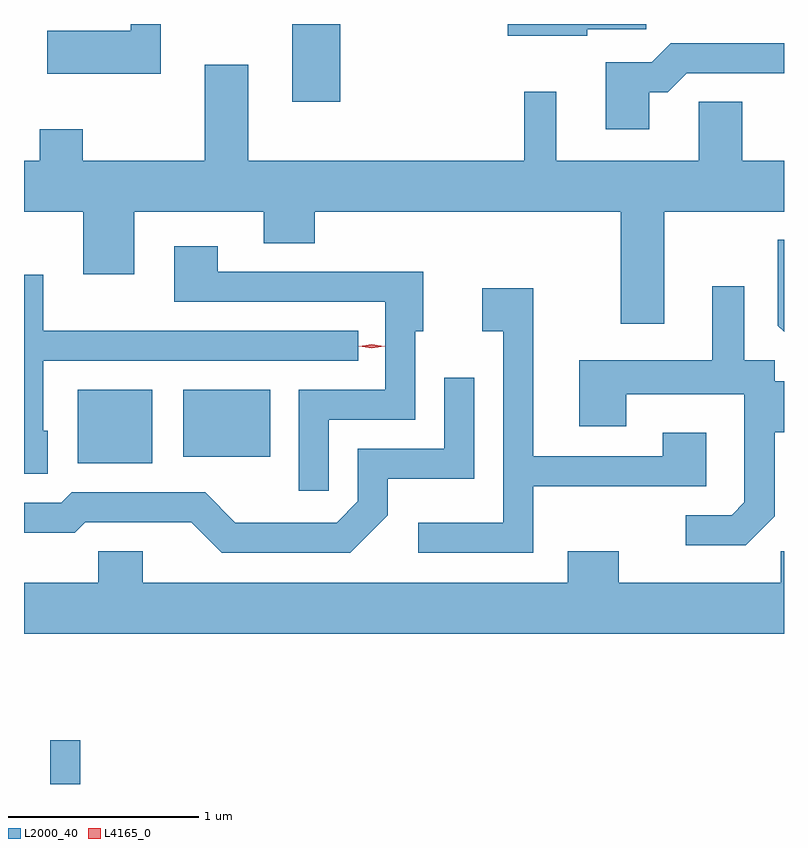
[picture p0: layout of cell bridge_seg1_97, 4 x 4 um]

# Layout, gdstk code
import gdstk
lib = gdstk.Library(unit=1e-6, precision=1e-09)
def R(c, l, rs):  # rectangles x0, y0, x1, y1
    for r in rs: c.add(gdstk.rectangle(r[:2], r[2:], *l))
def P(c, l, *ps):  # polygons
    for p in ps: c.add(gdstk.Polygon(p, *l))
L2000_40 = (2000, 40)
L4165_0 = (4165, 0)

bridge_seg1_97 = lib.new_cell('bridge_seg1_97')
R(bridge_seg1_97, L2000_40, [(1066.076,874.364,1066.234,874.593), (1066.221,876.051,1066.614,876.439), (1066.776,876.086,1067.234,876.439), (1067.351,877.956,1067.604,878.364)])
P(bridge_seg1_97, L2000_40, [(1068.904,878.336),(1069.214,878.336),(1069.214,878.364),(1068.486,878.364),(1068.486,878.301),(1068.904,878.301)],
  [(1066.659,878.364),(1066.501,878.364),(1066.501,878.329),(1066.061,878.329),(1066.061,878.101),(1066.659,878.101)],
  [(1069.229,878.006),(1069.327,878.006),(1069.427,878.106),(1069.939,878.106),(1069.939,878.264),(1069.344,878.264),(1069.244,878.164),(1069.001,878.164),(1069.001,877.811),(1069.229,877.811)],
  [(1069.309,877.376),(1069.939,877.376),(1069.939,877.644),(1069.719,877.644),(1069.719,877.954),(1069.491,877.954),(1069.491,877.644),(1068.739,877.644),(1068.739,878.008),(1068.571,878.008),(1068.571,877.644),(1067.119,877.644),(1067.119,878.149),(1066.891,878.149),(1066.891,877.644),(1066.249,877.644),(1066.249,877.809),(1066.021,877.809),(1066.021,877.644),(1065.939,877.644),(1065.939,877.376),(1066.251,877.376),(1066.251,877.046),(1066.519,877.046),(1066.519,877.376),(1067.201,877.376),(1067.201,877.211),(1067.469,877.211),(1067.469,877.376),(1069.081,877.376),(1069.081,876.786),(1069.309,876.786)],
  [(1069.939,877.228),(1069.906,877.228),(1069.906,876.777),(1069.939,876.744)],
  [(1067.544,876.281),(1067.999,876.281),(1067.999,876.746),(1068.039,876.746),(1068.039,877.059),(1066.959,877.059),(1066.959,877.194),(1066.731,877.194),(1066.731,876.901),(1067.841,876.901),(1067.841,876.439),(1067.386,876.439),(1067.386,875.908),(1067.544,875.908)],
  [(1066.064,876.224),(1066.039,876.224),(1066.039,876.591),(1067.698,876.591),(1067.698,876.749),(1066.039,876.749),(1066.039,877.044),(1065.939,877.044),(1065.939,875.996),(1066.064,875.996)],
  [(1069.889,875.774),(1069.889,876.216),(1069.939,876.216),(1069.939,876.484),(1069.889,876.484),(1069.889,876.594),(1069.729,876.594),(1069.729,876.983),(1069.561,876.983),(1069.561,876.594),(1068.861,876.594),(1068.861,876.246),(1069.109,876.246),(1069.109,876.416),(1069.731,876.416),(1069.731,875.847),(1069.664,875.779),(1069.423,875.779),(1069.423,875.621),(1069.737,875.621)],
  [(1068.619,875.931),(1069.529,875.931),(1069.529,876.214),(1069.301,876.214),(1069.301,876.089),(1068.619,876.089),(1068.619,876.974),(1068.351,876.974),(1068.351,876.746),(1068.461,876.746),(1068.461,875.739),(1068.013,875.739),(1068.013,875.581),(1068.619,875.581)],
  [(1067.854,875.779),(1067.854,875.971),(1068.309,875.971),(1068.309,876.503),(1068.151,876.503),(1068.151,876.129),(1067.696,876.129),(1067.696,875.852),(1067.584,875.739),(1067.052,875.739),(1066.892,875.899),(1066.189,875.899),(1066.134,875.844),(1065.939,875.844),(1065.939,875.686),(1066.207,875.686),(1066.262,875.741),(1066.819,875.741),(1066.979,875.581),(1067.657,875.581)],
  [(1069.939,875.589),(1069.921,875.589),(1069.921,875.424),(1069.069,875.424),(1069.069,875.589),(1068.801,875.589),(1068.801,875.424),(1066.564,875.424),(1066.564,875.589),(1066.331,875.589),(1066.331,875.424),(1065.939,875.424),(1065.939,875.156),(1069.939,875.156)])
P(bridge_seg1_97, L4165_0, [(1067.769,876.657),(1067.7,876.667),(1067.699,876.667),(1067.7,876.668),(1067.769,876.677),(1067.838,876.668),(1067.839,876.667),(1067.838,876.667)],
  [(1067.77,876.659),(1067.703,876.668),(1067.703,876.669),(1067.703,876.669),(1067.77,876.679),(1067.836,876.669),(1067.836,876.669),(1067.836,876.668)])

lib.write_gds('bridge_seg1_97.gds')
